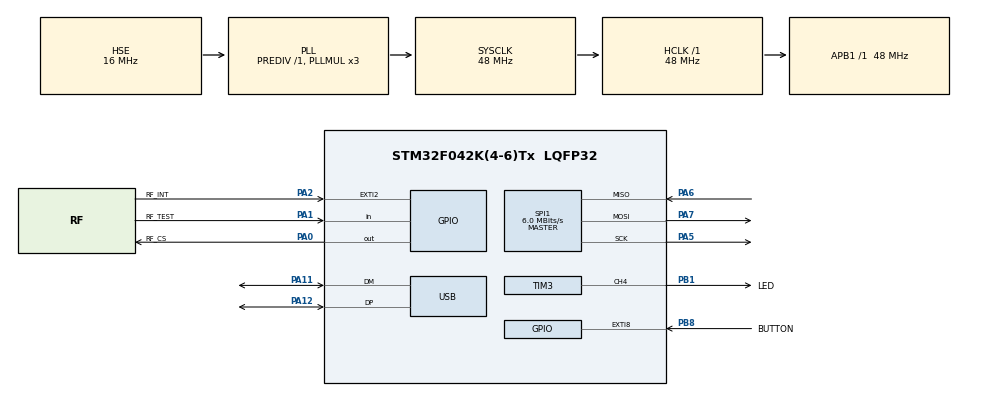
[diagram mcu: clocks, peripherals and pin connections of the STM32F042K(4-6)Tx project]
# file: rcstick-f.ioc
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Dma.Request0=SPI1_TX
Dma.Request1=SPI1_RX
Dma.SPI1_RX.1.Direction=DMA_PERIPH_TO_MEMORY
Dma.SPI1_RX.1.Instance=DMA1_Channel2
Dma.SPI1_RX.1.MemDataAlignment=DMA_MDATAALIGN_BYTE
Dma.SPI1_RX.1.MemInc=DMA_MINC_ENABLE
Dma.SPI1_RX.1.Mode=DMA_NORMAL
Dma.SPI1_RX.1.PeriphDataAlignment=DMA_PDATAALIGN_BYTE
Dma.SPI1_RX.1.PeriphInc=DMA_PINC_DISABLE
Dma.SPI1_RX.1.Priority=DMA_PRIORITY_LOW
Dma.SPI1_TX.0.Direction=DMA_MEMORY_TO_PERIPH
Dma.SPI1_TX.0.Instance=DMA1_Channel3
Dma.SPI1_TX.0.MemDataAlignment=DMA_MDATAALIGN_BYTE
Dma.SPI1_TX.0.MemInc=DMA_MINC_ENABLE
Dma.SPI1_TX.0.Mode=DMA_NORMAL
Dma.SPI1_TX.0.PeriphDataAlignment=DMA_PDATAALIGN_BYTE
Dma.SPI1_TX.0.PeriphInc=DMA_PINC_DISABLE
Dma.SPI1_TX.0.Priority=DMA_PRIORITY_LOW
Mcu.Family=STM32F0
Mcu.Name=STM32F042K(4-6)Tx
Mcu.Package=LQFP32
NVIC.DMA1_Channel2_3_IRQn=true\:0\:0\:false\:false\:true\:false\:true
NVIC.EXTI2_3_IRQn=true\:0\:0\:false\:false\:true\:true\:true
NVIC.EXTI4_15_IRQn=true\:0\:0\:false\:false\:true\:true\:true
NVIC.USB_IRQn=true\:0\:0\:false\:false\:true\:false\:true
PA0.GPIO_Label=RF_CS
PA0.PinState=GPIO_PIN_SET
PA0.Signal=GPIO_Output
PA1.GPIO_Label=RF_TEST
PA1.Signal=GPIO_Input
PA11.Mode=Device
PA11.Signal=USB_DM
PA12.Mode=Device
PA12.Signal=USB_DP
PA13.Mode=Serial_Wire
PA13.Signal=SYS_SWDIO
PA14.Mode=Serial_Wire
PA14.Signal=SYS_SWCLK
PA2.GPIO_Label=RF_INT
PA2.Signal=GPXTI2
PA5.Mode=Full_Duplex_Master
PA5.Signal=SPI1_SCK
PA6.Mode=Full_Duplex_Master
PA6.Signal=SPI1_MISO
PA7.Mode=Full_Duplex_Master
PA7.Signal=SPI1_MOSI
PB1.GPIO_Label=LED
PB1.Signal=S_TIM3_CH4
PB8.GPIO_Label=BUTTON
PB8.GPIO_ModeDefaultEXTI=GPIO_MODE_IT_RISING_FALLING
PB8.Signal=GPXTI8
PF0-OSC_IN.Mode=HSE-External-Oscillator
PF0-OSC_IN.Signal=RCC_OSC_IN
PF1-OSC_OUT.Mode=HSE-External-Oscillator
PF1-OSC_OUT.Signal=RCC_OSC_OUT
ProjectManager.HeapSize=0x200
ProjectManager.StackSize=0x400
ProjectManager.TargetToolchain=Makefile
RCC.AHBFreq_Value=48000000
RCC.APB1Freq_Value=48000000
RCC.APB1TimFreq_Value=48000000
RCC.HCLKFreq_Value=48000000
RCC.HSE_VALUE=16000000
RCC.PLLMUL=RCC_PLL_MUL3
RCC.PLLSourceVirtual=RCC_PLLSOURCE_HSE
RCC.SYSCLKFreq_VALUE=48000000
RCC.SYSCLKSource=RCC_SYSCLKSOURCE_PLLCLK
SH.S_TIM3_CH4.0=TIM3_CH4,PWM Generation4 CH4
SPI1.BaudRatePrescaler=SPI_BAUDRATEPRESCALER_8
SPI1.CalculateBaudRate=6.0 MBits/s
SPI1.DataSize=SPI_DATASIZE_8BIT
SPI1.Direction=SPI_DIRECTION_2LINES
SPI1.Mode=SPI_MODE_MASTER
SPI1.VirtualType=VM_MASTER
TIM2.AutoReloadPreload=TIM_AUTORELOAD_PRELOAD_ENABLE
TIM2.Period=4294967295
TIM2.Prescaler=47
TIM3.AutoReloadPreload=TIM_AUTORELOAD_PRELOAD_ENABLE
TIM3.Channel-PWM\ Generation4\ CH4=TIM_CHANNEL_4
TIM3.Period=4095
TIM3.Prescaler=256
USB_DEVICE.CLASS_NAME_FS=CUSTOMHID
USB_DEVICE.CONFIGURATION_STRING_CUSTOMHID_FS=rcstic-f Joystick Configuration
USB_DEVICE.INTERFACE_STRING_CUSTOMHID_FS=rcstick-f Joystick Interface
USB_DEVICE.MANUFACTURER_STRING=opiopan@gmail.com
USB_DEVICE.PID_CUSTOMHID_FS=22358
USB_DEVICE.PRODUCT_STRING_CUSTOMHID_FS=rcstick-f
USB_DEVICE.SERIALNUMBER_STRING_CUSTOMHID_FS=0000001C
USB_DEVICE.USBD_CUSTOMHID_OUTREPORT_BUF_SIZE=17
USB_DEVICE.USBD_CUSTOM_HID_REPORT_DESC_SIZE=42
USB_DEVICE.USBD_SELF_POWERED=0
USB_DEVICE.VirtualMode=CustomHid
USB_DEVICE.VirtualModeFS=Custom_Hid_FS
VP_TIM2_VS_ClockSourceINT.Mode=Internal
VP_USB_DEVICE_VS_USB_DEVICE_CUSTOM_HID_FS.Mode=CUSTOM_HID_FS
board=custom

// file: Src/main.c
/* USER CODE BEGIN Header */
/**
  ******************************************************************************
  * @file           : main.c
  * @brief          : Main program body
  ******************************************************************************
  * This notice applies to any and all portions of this file
  * that are not between comment pairs USER CODE BEGIN and
  * USER CODE END. Other portions of this file, whether
  * inserted by the user or by software development tools
  * are owned by their respective copyright owners.
  *
  * Copyright (c) 2019 STMicroelectronics International N.V.
  * All rights reserved.
  *
  * Redistribution and use in source and binary forms, with or without
  * modification, are permitted, provided that the following conditions are met:
  *
  * 1. Redistribution of source code must retain the above copyright notice,
  *    this list of conditions and the following disclaimer.
  * 2. Redistributions in binary form must reproduce the above copyright notice,
  *    this list of conditions and the following disclaimer in the documentation
  *    and/or other materials provided with the distribution.
  * 3. Neither the name of STMicroelectronics nor the names of other
  *    contributors to this software may be used to endorse or promote products
  *    derived from this software without specific written permission.
  * 4. This software, including modifications and/or derivative works of this
  *    software, must execute solely and exclusively on microcontroller or
  *    microprocessor devices manufactured by or for STMicroelectronics.
  * 5. Redistribution and use of this software other than as permitted under
  *    this license is void and will automatically terminate your rights under
  *    this license.
  *
  * THIS SOFTWARE IS PROVIDED BY STMICROELECTRONICS AND CONTRIBUTORS "AS IS"
  * AND ANY EXPRESS, IMPLIED OR STATUTORY WARRANTIES, INCLUDING, BUT NOT
  * LIMITED TO, THE IMPLIED WARRANTIES OF MERCHANTABILITY, FITNESS FOR A
  * PARTICULAR PURPOSE AND NON-INFRINGEMENT OF THIRD PARTY INTELLECTUAL PROPERTY
  * RIGHTS ARE DISCLAIMED TO THE FULLEST EXTENT PERMITTED BY LAW. IN NO EVENT
  * SHALL STMICROELECTRONICS OR CONTRIBUTORS BE LIABLE FOR ANY DIRECT, INDIRECT,
  * INCIDENTAL, SPECIAL, EXEMPLARY, OR CONSEQUENTIAL DAMAGES (INCLUDING, BUT NOT
  * LIMITED TO, PROCUREMENT OF SUBSTITUTE GOODS OR SERVICES; LOSS OF USE, DATA,
  * OR PROFITS; OR BUSINESS INTERRUPTION) HOWEVER CAUSED AND ON ANY THEORY OF
  * LIABILITY, WHETHER IN CONTRACT, STRICT LIABILITY, OR TORT (INCLUDING
  * NEGLIGENCE OR OTHERWISE) ARISING IN ANY WAY OUT OF THE USE OF THIS SOFTWARE,
  * EVEN IF ADVISED OF THE POSSIBILITY OF SUCH DAMAGE.
  *
  ******************************************************************************
  */
/* USER CODE END Header */

#include "main.h"
#include "usb_device.h"

/* USER CODE BEGIN Includes */
#include "rcstick.h"
/* USER CODE END Includes */

SPI_HandleTypeDef hspi1;
DMA_HandleTypeDef hdma_spi1_tx;
DMA_HandleTypeDef hdma_spi1_rx;

TIM_HandleTypeDef htim2;
TIM_HandleTypeDef htim3;

void SystemClock_Config(void);
static void MX_GPIO_Init(void);
static void MX_DMA_Init(void);
static void MX_SPI1_Init(void);
static void MX_TIM3_Init(void);
static void MX_TIM2_Init(void);

int main(void)
{

  /* MCU Configuration--------------------------------------------------------*/

  /* Reset of all peripherals, Initializes the Flash interface and the Systick. */
  HAL_Init();

  /* Configure the system clock */
  SystemClock_Config();

  /* Initialize all configured peripherals */
  MX_GPIO_Init();
  MX_DMA_Init();
  MX_SPI1_Init();
  MX_USB_DEVICE_Init();
  MX_TIM3_Init();
  MX_TIM2_Init();
  /* USER CODE BEGIN 2 */
  RcstickConf conf = {
    .hrtimer = &htim2,
    .spi = &hspi1,
    .rf_cs_ch = RF_CS_GPIO_Port,
    .rf_cs_pin = RF_CS_Pin,
    .rf_test_ch = RF_TEST_GPIO_Port,
    .rf_test_pin = RF_TEST_Pin,
    .rf_int_ch = RF_INT_GPIO_Port,
    .rf_int_pin = RF_INT_Pin,
    .led_pwm_timer = &htim3,
    .led_pwm_ch = TIM_CHANNEL_4,
    .button_ch = BUTTON_GPIO_Port,
    .button_pin = BUTTON_Pin,
  };
  run_rcstick(&conf);
  /* USER CODE END 2 */

  /* Infinite loop */

}

void SystemClock_Config(void)
{
  RCC_OscInitTypeDef RCC_OscInitStruct = {0};
  RCC_ClkInitTypeDef RCC_ClkInitStruct = {0};
  RCC_PeriphCLKInitTypeDef PeriphClkInit = {0};

  /**Initializes the CPU, AHB and APB busses clocks
  */
  RCC_OscInitStruct.OscillatorType = RCC_OSCILLATORTYPE_HSI48|RCC_OSCILLATORTYPE_HSE;
  RCC_OscInitStruct.HSEState = RCC_HSE_ON;
  RCC_OscInitStruct.HSI48State = RCC_HSI48_ON;
  RCC_OscInitStruct.PLL.PLLState = RCC_PLL_ON;
  RCC_OscInitStruct.PLL.PLLSource = RCC_PLLSOURCE_HSE;
  RCC_OscInitStruct.PLL.PLLMUL = RCC_PLL_MUL3;
  RCC_OscInitStruct.PLL.PREDIV = RCC_PREDIV_DIV1;
  if (HAL_RCC_OscConfig(&RCC_OscInitStruct) != HAL_OK)
  {
    Error_Handler();
  }
  /**Initializes the CPU, AHB and APB busses clocks
  */
  RCC_ClkInitStruct.ClockType = RCC_CLOCKTYPE_HCLK|RCC_CLOCKTYPE_SYSCLK
                              |RCC_CLOCKTYPE_PCLK1;
  RCC_ClkInitStruct.SYSCLKSource = RCC_SYSCLKSOURCE_PLLCLK;
  RCC_ClkInitStruct.AHBCLKDivider = RCC_SYSCLK_DIV1;
  RCC_ClkInitStruct.APB1CLKDivider = RCC_HCLK_DIV1;

  if (HAL_RCC_ClockConfig(&RCC_ClkInitStruct, FLASH_LATENCY_1) != HAL_OK)
  {
    Error_Handler();
  }
  PeriphClkInit.PeriphClockSelection = RCC_PERIPHCLK_USB;
  PeriphClkInit.UsbClockSelection = RCC_USBCLKSOURCE_HSI48;

  if (HAL_RCCEx_PeriphCLKConfig(&PeriphClkInit) != HAL_OK)
  {
    Error_Handler();
  }
}

static void MX_SPI1_Init(void)
{

  /* SPI1 parameter configuration*/
  hspi1.Instance = SPI1;
  hspi1.Init.Mode = SPI_MODE_MASTER;
  hspi1.Init.Direction = SPI_DIRECTION_2LINES;
  hspi1.Init.DataSize = SPI_DATASIZE_8BIT;
  hspi1.Init.CLKPolarity = SPI_POLARITY_LOW;
  hspi1.Init.CLKPhase = SPI_PHASE_1EDGE;
  hspi1.Init.NSS = SPI_NSS_SOFT;
  hspi1.Init.BaudRatePrescaler = SPI_BAUDRATEPRESCALER_8;
  hspi1.Init.FirstBit = SPI_FIRSTBIT_MSB;
  hspi1.Init.TIMode = SPI_TIMODE_DISABLE;
  hspi1.Init.CRCCalculation = SPI_CRCCALCULATION_DISABLE;
  hspi1.Init.CRCPolynomial = 7;
  hspi1.Init.CRCLength = SPI_CRC_LENGTH_DATASIZE;
  hspi1.Init.NSSPMode = SPI_NSS_PULSE_ENABLE;
  if (HAL_SPI_Init(&hspi1) != HAL_OK)
  {
    Error_Handler();
  }

}

static void MX_TIM2_Init(void)
{

  TIM_ClockConfigTypeDef sClockSourceConfig = {0};
  TIM_MasterConfigTypeDef sMasterConfig = {0};

  htim2.Instance = TIM2;
  htim2.Init.Prescaler = 47;
  htim2.Init.CounterMode = TIM_COUNTERMODE_UP;
  htim2.Init.Period = 4294967295;
  htim2.Init.ClockDivision = TIM_CLOCKDIVISION_DIV1;
  htim2.Init.AutoReloadPreload = TIM_AUTORELOAD_PRELOAD_ENABLE;
  if (HAL_TIM_Base_Init(&htim2) != HAL_OK)
  {
    Error_Handler();
  }
  sClockSourceConfig.ClockSource = TIM_CLOCKSOURCE_INTERNAL;
  if (HAL_TIM_ConfigClockSource(&htim2, &sClockSourceConfig) != HAL_OK)
  {
    Error_Handler();
  }
  sMasterConfig.MasterOutputTrigger = TIM_TRGO_RESET;
  sMasterConfig.MasterSlaveMode = TIM_MASTERSLAVEMODE_DISABLE;
  if (HAL_TIMEx_MasterConfigSynchronization(&htim2, &sMasterConfig) != HAL_OK)
  {
    Error_Handler();
  }

}

static void MX_TIM3_Init(void)
{

  TIM_MasterConfigTypeDef sMasterConfig = {0};
  TIM_OC_InitTypeDef sConfigOC = {0};

  htim3.Instance = TIM3;
  htim3.Init.Prescaler = 256;
  htim3.Init.CounterMode = TIM_COUNTERMODE_UP;
  htim3.Init.Period = 4095;
  htim3.Init.ClockDivision = TIM_CLOCKDIVISION_DIV1;
  htim3.Init.AutoReloadPreload = TIM_AUTORELOAD_PRELOAD_ENABLE;
  if (HAL_TIM_PWM_Init(&htim3) != HAL_OK)
  {
    Error_Handler();
  }
  sMasterConfig.MasterOutputTrigger = TIM_TRGO_RESET;
  sMasterConfig.MasterSlaveMode = TIM_MASTERSLAVEMODE_DISABLE;
  if (HAL_TIMEx_MasterConfigSynchronization(&htim3, &sMasterConfig) != HAL_OK)
  {
    Error_Handler();
  }
  sConfigOC.OCMode = TIM_OCMODE_PWM1;
  sConfigOC.Pulse = 0;
  sConfigOC.OCPolarity = TIM_OCPOLARITY_HIGH;
  sConfigOC.OCFastMode = TIM_OCFAST_DISABLE;
  if (HAL_TIM_PWM_ConfigChannel(&htim3, &sConfigOC, TIM_CHANNEL_4) != HAL_OK)
  {
    Error_Handler();
  }
  HAL_TIM_MspPostInit(&htim3);

}

static void MX_DMA_Init(void)
{
  /* DMA controller clock enable */
  __HAL_RCC_DMA1_CLK_ENABLE();

  /* DMA interrupt init */
  /* DMA1_Channel2_3_IRQn interrupt configuration */
  HAL_NVIC_SetPriority(DMA1_Channel2_3_IRQn, 0, 0);
  HAL_NVIC_EnableIRQ(DMA1_Channel2_3_IRQn);

}

static void MX_GPIO_Init(void)
{
  GPIO_InitTypeDef GPIO_InitStruct = {0};

  /* GPIO Ports Clock Enable */
  __HAL_RCC_GPIOF_CLK_ENABLE();
  __HAL_RCC_GPIOA_CLK_ENABLE();
  __HAL_RCC_GPIOB_CLK_ENABLE();

  /*Configure GPIO pin Output Level */
  HAL_GPIO_WritePin(RF_CS_GPIO_Port, RF_CS_Pin, GPIO_PIN_SET);

  /*Configure GPIO pin : RF_CS_Pin */
  GPIO_InitStruct.Pin = RF_CS_Pin;
  GPIO_InitStruct.Mode = GPIO_MODE_OUTPUT_PP;
  GPIO_InitStruct.Pull = GPIO_NOPULL;
  GPIO_InitStruct.Speed = GPIO_SPEED_FREQ_LOW;
  HAL_GPIO_Init(RF_CS_GPIO_Port, &GPIO_InitStruct);

  /*Configure GPIO pin : RF_TEST_Pin */
  GPIO_InitStruct.Pin = RF_TEST_Pin;
  GPIO_InitStruct.Mode = GPIO_MODE_INPUT;
  GPIO_InitStruct.Pull = GPIO_NOPULL;
  HAL_GPIO_Init(RF_TEST_GPIO_Port, &GPIO_InitStruct);

  /*Configure GPIO pin : RF_INT_Pin */
  GPIO_InitStruct.Pin = RF_INT_Pin;
  GPIO_InitStruct.Mode = GPIO_MODE_IT_RISING;
  GPIO_InitStruct.Pull = GPIO_NOPULL;
  HAL_GPIO_Init(RF_INT_GPIO_Port, &GPIO_InitStruct);

  /*Configure GPIO pin : BUTTON_Pin */
  GPIO_InitStruct.Pin = BUTTON_Pin;
  GPIO_InitStruct.Mode = GPIO_MODE_IT_RISING_FALLING;
  GPIO_InitStruct.Pull = GPIO_NOPULL;
  HAL_GPIO_Init(BUTTON_GPIO_Port, &GPIO_InitStruct);

  /* EXTI interrupt init*/
  HAL_NVIC_SetPriority(EXTI2_3_IRQn, 0, 0);
  HAL_NVIC_EnableIRQ(EXTI2_3_IRQn);

  HAL_NVIC_SetPriority(EXTI4_15_IRQn, 0, 0);
  HAL_NVIC_EnableIRQ(EXTI4_15_IRQn);

}

void Error_Handler(void)
{
}

/************************ (C) COPYRIGHT STMicroelectronics *****END OF FILE****/
